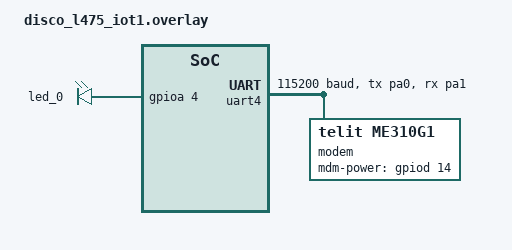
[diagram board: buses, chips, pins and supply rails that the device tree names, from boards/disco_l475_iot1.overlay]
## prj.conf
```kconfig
# Copyright (c) 2023 Bjarki Arge Andreasen
# SPDX-License-Identifier: Apache-2.0
CONFIG_POSIX_API=y

# Networking
CONFIG_NETWORKING=y
CONFIG_NET_NATIVE=y
CONFIG_NET_L2_PPP=y
CONFIG_NET_IPV4=y
CONFIG_NET_UDP=y
CONFIG_NET_SOCKETS=y
CONFIG_NET_CONTEXT_RCVTIMEO=y

# DNS
CONFIG_DNS_RESOLVER=y
CONFIG_NET_L2_PPP_OPTION_DNS_USE=y

# Network management
CONFIG_NET_MGMT=y
CONFIG_NET_MGMT_EVENT=y
CONFIG_NET_CONNECTION_MANAGER=y
CONFIG_NET_BUF_RX_COUNT=32

# Modem driver
CONFIG_MODEM=y
CONFIG_PM_DEVICE=y
CONFIG_MODEM_CELLULAR=y
CONFIG_MODEM_CELLULAR_APN="simplio.apn"
CONFIG_MODEM_CMUX_WORK_BUFFER_SIZE=256
CONFIG_MODEM_CELLULAR_CHAT_BUFFER_SIZE=256
CONFIG_MODEM_CELLULAR_USER_PIPE_BUFFER_SIZES=256

# Dynamic APN configuration (uncomment if not needed)
#CONFIG_MODEM_CELLULAR_APN="" # Remove default APN
#CONFIG_SAMPLE_CELLULAR_MODEM_AUTO_APN=y
#CONFIG_SAMPLE_CELLULAR_APN_0="shared.m2m.ch"
#CONFIG_SAMPLE_CELLULAR_IMSI_LIST_0="22801"
#CONFIG_SAMPLE_CELLULAR_APN_1="em"
#CONFIG_SAMPLE_CELLULAR_IMSI_LIST_1="29505 90143 29509"

# Statistics
CONFIG_MODEM_STATS=y
CONFIG_SHELL=y

# Testing
CONFIG_MODEM_AT_SHELL=y
CONFIG_PM_DEVICE_SHELL=y
CONFIG_SHELL_WILDCARD=n

# Logging
CONFIG_LOG=y
#CONFIG_MODEM_MODULES_LOG_LEVEL_DBG=y
# For extra verbosity
#CONFIG_MODEM_CMUX_LOG_LEVEL_DBG=y
#CONFIG_LOG_BUFFER_SIZE=65536
CONFIG_GPIO=y
CONFIG_LED=y

CONFIG_ENTROPY_GENERATOR=y
CONFIG_TEST_RANDOM_GENERATOR=y
```

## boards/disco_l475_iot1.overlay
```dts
/ {
    aliases {
        modem-uart = &uart4;
		modem = &modem;
		ldoen = &mdm_ldo;
    };

	chosen {
        zephyr,ppp-uart = &uart4;
    };

    mdm_ldo: mdm_ldo {
        compatible = "gpio-leds";
        label = "Modem LDO Enable";
        led_0: led_0 {
            gpios = <&gpioa 4 GPIO_ACTIVE_HIGH>;
        };
    };	
};

&uart4 {
    pinctrl-0 = <&uart4_tx_pa0 &uart4_rx_pa1>;
    pinctrl-names = "default";
    current-speed = <115200>;
    status = "okay";

    modem: modem {
        status = "okay";
        compatible = "telit,me310g1";
        mdm-power-gpios = <&gpiod 14 GPIO_ACTIVE_HIGH>;
    };
};

&gpioa {
    status = "okay";
};

&gpiod {
    status = "okay";
};
```

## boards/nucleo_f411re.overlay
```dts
/ {
    aliases {
        modem-uart = &usart1;
		modem = &modem;
		ldoen = &mdm_ldo;
    };

	chosen {
        zephyr,ppp-uart = &usart1;
    };

    mdm_ldo: mdm_ldo {
        compatible = "gpio-leds";
        label = "Modem LDO Enable";
        led_0: led_0 {
            gpios = <&gpioa 8 GPIO_ACTIVE_HIGH>;
        };
    };	
};

&usart1 {
    pinctrl-0 = <&usart1_tx_pa9 &usart1_rx_pa10>;
    pinctrl-names = "default";
    current-speed = <115200>;
    status = "okay";

    modem: modem {
        status = "okay";
        compatible = "telit,me310g1";
        mdm-power-gpios = <&gpiob 3 GPIO_ACTIVE_HIGH>;
    };
};

&gpioa {
    status = "okay";
};

&gpiob {
    status = "okay";
};
```

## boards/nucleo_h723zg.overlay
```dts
/ {
    aliases {
        modem-uart = &usart1;
		modem = &modem;
		ldoen = &mdm_ldo;
    };

	chosen {
        zephyr,ppp-uart = &usart1;
    };

    mdm_ldo: mdm_ldo {
        compatible = "gpio-leds";
        label = "Modem LDO Enable";
        led_0: led_0 {
            gpios = <&gpiog 12 GPIO_ACTIVE_HIGH>;
        };
    };	
};

&usart1 {
    pinctrl-0 = <&usart1_tx_pb6 &usart1_rx_pb7>;
    pinctrl-names = "default";
    current-speed = <115200>;
    status = "okay";

    modem: modem {
        status = "okay";
        compatible = "telit,me310g1";
        mdm-power-gpios = <&gpiog 14 GPIO_ACTIVE_HIGH>;
    };
};

&gpiob {
    status = "okay";
};

&gpiog {
    status = "okay";
};
```

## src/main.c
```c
#include <zephyr/pm/device.h>
#include <zephyr/net/socket.h>
#include <zephyr/kernel.h>
#include <zephyr/net/net_core.h>
#include <zephyr/net/net_if.h>
#include <zephyr/net/ppp.h>
#include <zephyr/net/net_mgmt.h>
#include <zephyr/logging/log.h>
#include <zephyr/device.h>
#include <zephyr/drivers/gpio.h>
#include <zephyr/drivers/uart.h>
#include <errno.h>
#include <string.h>
#include <zephyr/drivers/led.h>

LOG_MODULE_REGISTER(main, LOG_LEVEL_DBG);
static const struct device *const ldo_en = DEVICE_DT_GET(DT_ALIAS(ldoen));

void setup_modem_power(void)
{
	int ret;

    if (!device_is_ready(ldo_en)) {
        printk("LDO Enable device not ready\n");
        return;
    }

    printk("Turning on Modem LDO...\n");
    ret = led_on(ldo_en, 0); 
    
    if (ret < 0) {
        printk("Failed to turn on LDO\n");
    }	
	k_sleep(K_MSEC(300));
}

void shutdown_modem_power(void)
{
    if (!device_is_ready(ldo_en)) {
        return;
    }

    printk("Turning off Modem LDO...\n");

    led_off(ldo_en, 0); 	
	k_sleep(K_MSEC(3000));
}


int main(void) {
	const struct device *modem_dev = DEVICE_DT_GET(DT_NODELABEL(modem));

	shutdown_modem_power();
	setup_modem_power();
	if (modem_dev == NULL) {
		LOG_ERR("Modem device not found");

	} else if (!device_is_ready(modem_dev)) {
		LOG_ERR("Modem device not ready! Check init.");
		return -1;
	} else {
		LOG_INF("Modem ready");
	}

	pm_device_action_run(modem_dev, PM_DEVICE_ACTION_RESUME);

	LOG_INF("booting up...");
	struct net_if *iface = net_if_get_first_by_type(&NET_L2_GET_NAME(PPP));
	if (!iface) {
		LOG_ERR("No PPP interface found");
		return -1;
	}

	net_if_up(iface);

	struct net_mgmt_event_callback cb;
	net_mgmt_init_event_callback(&cb, NULL, 0);
	net_mgmt_add_event_callback(&cb);

	int timeout = 60;
	while (timeout-- > 0 && !net_if_is_up(iface)) {
		k_sleep(K_SECONDS(1));
	}

	if (!net_if_is_up(iface)) {
		LOG_ERR("PPP connection failed");
		return -1;
	}

	LOG_INF("PPP connected successfully");

	/* Connect to Echo Server */
	struct sockaddr_in addr;

	addr.sin_family = AF_INET;
	addr.sin_port = htons(7);

	inet_pton(AF_INET, "34.192.142.126", &addr.sin_addr);

	int sock = socket(AF_INET, SOCK_DGRAM, IPPROTO_UDP);
	if (sock < 0) {
		LOG_ERR("Socket creation failed: %s (errno %d)", strerror(errno), errno);
		return -1;
	}

	LOG_INF("Waiting Modem UP");
	k_sleep(K_SECONDS(5));

	for(int i=0; i<5; i++)
	{

		char *test_msg = "Hello CodeZoo!!!";
		char buffer[32];
		ssize_t sent = sendto(sock, test_msg, strlen(test_msg), 0, (struct sockaddr *)&addr, sizeof(addr));
		if (sent < 0) {
			LOG_ERR("UDP send failed: %s (errno %d)", strerror(errno), errno);
			switch (errno) {
				case ENETUNREACH:
					LOG_ERR("Network is unreachable. Check PPP connection and routing.");
					break;
				case EHOSTUNREACH:
					LOG_ERR("Host is unreachable. Check DNS server IP and network.");
					break;
				case EADDRNOTAVAIL:
					LOG_ERR("Address not available. Check local IP configuration.");
					break;
				case ENOBUFS:
					LOG_ERR("No buffer space available. System may be out of memory.");
					break;
				case EACCES:
					LOG_ERR("Permission denied. Check socket permissions.");
					break;
				case EIO:
					LOG_ERR("I/O error. Possible modem or driver issue.");
					break;
				default:
					LOG_ERR("UDP send failed with unspecified error.");
					break;
			}
		} else {
			LOG_INF("UDP test packet sent successfully (%zd bytes)", sent);
		}

		memset(buffer, 0x0, sizeof(buffer));

		ssize_t recv = recvfrom(sock, (char *)buffer, sizeof(buffer), 0, (struct sockaddr *)&addr, sizeof(addr));
		if (recv < 0) {
			close(sock);
			LOG_ERR("UDP recv failed with unspecified error.");
		}

		buffer[recv] = '\0';
		LOG_INF("UDP test receive packet ( %s )",buffer); 
		k_sleep(K_SECONDS(2));
	}
	LOG_INF("UDP Socket close"); 
	zsock_close(sock);

	LOG_INF("UDP Socket Test end"); 
	while (1) {
		k_sleep(K_SECONDS(10));
	}

	return 0;
}
```
